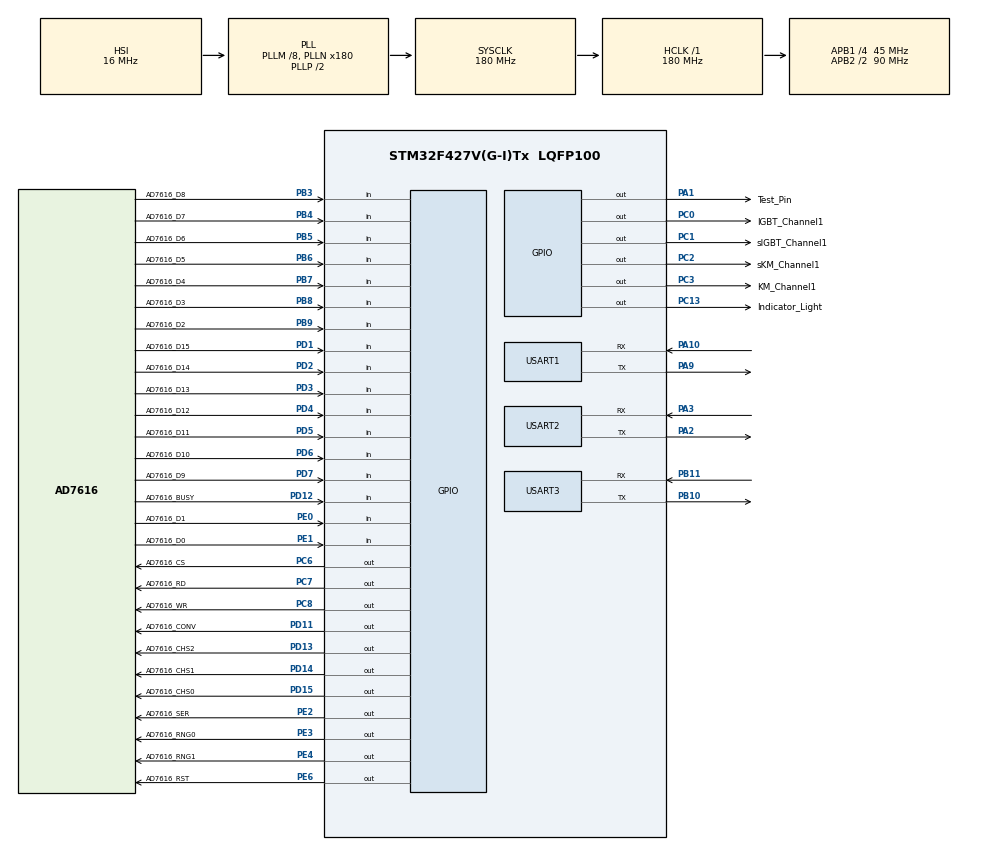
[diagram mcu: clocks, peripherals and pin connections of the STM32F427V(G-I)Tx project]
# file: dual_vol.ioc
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Dma.Request0=USART2_RX
Dma.Request1=USART2_TX
Dma.Request2=USART3_RX
Dma.Request3=USART3_TX
Dma.Request4=USART1_RX
Dma.Request5=USART1_TX
Dma.USART1_RX.4.Direction=DMA_PERIPH_TO_MEMORY
Dma.USART1_RX.4.FIFOMode=DMA_FIFOMODE_DISABLE
Dma.USART1_RX.4.Instance=DMA2_Stream2
Dma.USART1_RX.4.MemDataAlignment=DMA_MDATAALIGN_BYTE
Dma.USART1_RX.4.MemInc=DMA_MINC_ENABLE
Dma.USART1_RX.4.Mode=DMA_NORMAL
Dma.USART1_RX.4.PeriphDataAlignment=DMA_PDATAALIGN_BYTE
Dma.USART1_RX.4.PeriphInc=DMA_PINC_DISABLE
Dma.USART1_RX.4.Priority=DMA_PRIORITY_LOW
Dma.USART1_TX.5.Direction=DMA_MEMORY_TO_PERIPH
Dma.USART1_TX.5.FIFOMode=DMA_FIFOMODE_DISABLE
Dma.USART1_TX.5.Instance=DMA2_Stream7
Dma.USART1_TX.5.MemDataAlignment=DMA_MDATAALIGN_BYTE
Dma.USART1_TX.5.MemInc=DMA_MINC_ENABLE
Dma.USART1_TX.5.Mode=DMA_NORMAL
Dma.USART1_TX.5.PeriphDataAlignment=DMA_PDATAALIGN_BYTE
Dma.USART1_TX.5.PeriphInc=DMA_PINC_DISABLE
Dma.USART1_TX.5.Priority=DMA_PRIORITY_LOW
Dma.USART2_RX.0.Direction=DMA_PERIPH_TO_MEMORY
Dma.USART2_RX.0.FIFOMode=DMA_FIFOMODE_DISABLE
Dma.USART2_RX.0.Instance=DMA1_Stream5
Dma.USART2_RX.0.MemDataAlignment=DMA_MDATAALIGN_BYTE
Dma.USART2_RX.0.MemInc=DMA_MINC_ENABLE
Dma.USART2_RX.0.Mode=DMA_NORMAL
Dma.USART2_RX.0.PeriphDataAlignment=DMA_PDATAALIGN_BYTE
Dma.USART2_RX.0.PeriphInc=DMA_PINC_DISABLE
Dma.USART2_RX.0.Priority=DMA_PRIORITY_LOW
Dma.USART2_TX.1.Direction=DMA_MEMORY_TO_PERIPH
Dma.USART2_TX.1.FIFOMode=DMA_FIFOMODE_DISABLE
Dma.USART2_TX.1.Instance=DMA1_Stream6
Dma.USART2_TX.1.MemDataAlignment=DMA_MDATAALIGN_BYTE
Dma.USART2_TX.1.MemInc=DMA_MINC_ENABLE
Dma.USART2_TX.1.Mode=DMA_NORMAL
Dma.USART2_TX.1.PeriphDataAlignment=DMA_PDATAALIGN_BYTE
Dma.USART2_TX.1.PeriphInc=DMA_PINC_DISABLE
Dma.USART2_TX.1.Priority=DMA_PRIORITY_MEDIUM
Dma.USART3_RX.2.Direction=DMA_PERIPH_TO_MEMORY
Dma.USART3_RX.2.FIFOMode=DMA_FIFOMODE_DISABLE
Dma.USART3_RX.2.Instance=DMA1_Stream1
Dma.USART3_RX.2.MemDataAlignment=DMA_MDATAALIGN_BYTE
Dma.USART3_RX.2.MemInc=DMA_MINC_ENABLE
Dma.USART3_RX.2.Mode=DMA_NORMAL
Dma.USART3_RX.2.PeriphDataAlignment=DMA_PDATAALIGN_BYTE
Dma.USART3_RX.2.PeriphInc=DMA_PINC_DISABLE
Dma.USART3_RX.2.Priority=DMA_PRIORITY_LOW
Dma.USART3_TX.3.Direction=DMA_MEMORY_TO_PERIPH
Dma.USART3_TX.3.FIFOMode=DMA_FIFOMODE_DISABLE
Dma.USART3_TX.3.Instance=DMA1_Stream3
Dma.USART3_TX.3.MemDataAlignment=DMA_MDATAALIGN_BYTE
Dma.USART3_TX.3.MemInc=DMA_MINC_ENABLE
Dma.USART3_TX.3.Mode=DMA_NORMAL
Dma.USART3_TX.3.PeriphDataAlignment=DMA_PDATAALIGN_BYTE
Dma.USART3_TX.3.PeriphInc=DMA_PINC_DISABLE
Dma.USART3_TX.3.Priority=DMA_PRIORITY_MEDIUM
Mcu.Family=STM32F4
Mcu.Name=STM32F427V(G-I)Tx
Mcu.Package=LQFP100
NVIC.DMA1_Stream1_IRQn=true\:0\:0\:false\:false\:true\:false\:true\:true
NVIC.DMA1_Stream3_IRQn=true\:0\:0\:false\:false\:true\:false\:true\:true
NVIC.DMA1_Stream5_IRQn=true\:0\:0\:false\:false\:true\:false\:true\:true
NVIC.DMA1_Stream6_IRQn=true\:0\:0\:false\:false\:true\:false\:true\:true
NVIC.DMA2_Stream2_IRQn=true\:0\:0\:false\:false\:true\:false\:true\:true
NVIC.DMA2_Stream7_IRQn=true\:0\:0\:false\:false\:true\:false\:true\:true
NVIC.PriorityGroup=NVIC_PRIORITYGROUP_4
NVIC.TIM2_IRQn=true\:2\:0\:true\:false\:true\:true\:true\:true
NVIC.TIM3_IRQn=true\:4\:0\:true\:false\:true\:true\:true\:true
NVIC.TIM4_IRQn=true\:3\:0\:true\:false\:true\:true\:true\:true
NVIC.USART1_IRQn=true\:0\:0\:false\:false\:true\:true\:true\:true
NVIC.USART2_IRQn=true\:1\:0\:true\:false\:true\:true\:true\:true
NVIC.USART3_IRQn=true\:1\:0\:true\:false\:true\:true\:true\:true
PA1.GPIO_Label=Test_Pin
PA1.GPIO_Speed=GPIO_SPEED_FREQ_VERY_HIGH
PA1.Signal=GPIO_Output
PA10.Mode=Asynchronous
PA10.Signal=USART1_RX
PA13.Mode=Serial_Wire
PA13.Signal=SYS_JTMS-SWDIO
PA14.Mode=Serial_Wire
PA14.Signal=SYS_JTCK-SWCLK
PA2.Mode=Asynchronous
PA2.Signal=USART2_TX
PA3.Mode=Asynchronous
PA3.Signal=USART2_RX
PA9.Mode=Asynchronous
PA9.Signal=USART1_TX
PB10.Mode=Asynchronous
PB10.Signal=USART3_TX
PB11.Mode=Asynchronous
PB11.Signal=USART3_RX
PB3.GPIO_Label=AD7616_D8
PB3.Signal=GPIO_Input
PB4.GPIO_Label=AD7616_D7
PB4.Signal=GPIO_Input
PB5.GPIO_Label=AD7616_D6
PB5.Signal=GPIO_Input
PB6.GPIO_Label=AD7616_D5
PB6.Signal=GPIO_Input
PB7.GPIO_Label=AD7616_D4
PB7.Signal=GPIO_Input
PB8.GPIO_Label=AD7616_D3
PB8.Signal=GPIO_Input
PB9.GPIO_Label=AD7616_D2
PB9.Signal=GPIO_Input
PC0.GPIO_Label=IGBT_Channel1
PC0.GPIO_Speed=GPIO_SPEED_FREQ_VERY_HIGH
PC0.Signal=GPIO_Output
PC1.GPIO_Label=sIGBT_Channel1
PC1.GPIO_Speed=GPIO_SPEED_FREQ_VERY_HIGH
PC1.PinState=GPIO_PIN_RESET
PC1.Signal=GPIO_Output
PC13.GPIO_Label=Indicator_Light
PC13.PinState=GPIO_PIN_SET
PC13.Signal=GPIO_Output
PC14/OSC32_IN.Mode=LSE-External-Oscillator
PC14/OSC32_IN.Signal=RCC_OSC32_IN
PC15/OSC32_OUT.Mode=LSE-External-Oscillator
PC15/OSC32_OUT.Signal=RCC_OSC32_OUT
PC2.GPIO_Label=sKM_Channel1
PC2.GPIO_Speed=GPIO_SPEED_FREQ_VERY_HIGH
PC2.Signal=GPIO_Output
PC3.GPIO_Label=KM_Channel1
PC3.GPIO_Speed=GPIO_SPEED_FREQ_VERY_HIGH
PC3.Signal=GPIO_Output
PC6.GPIO_Label=AD7616_CS
PC6.GPIO_Speed=GPIO_SPEED_FREQ_VERY_HIGH
PC6.Signal=GPIO_Output
PC7.GPIO_Label=AD7616_RD
PC7.GPIO_Speed=GPIO_SPEED_FREQ_VERY_HIGH
PC7.Signal=GPIO_Output
PC8.GPIO_Label=AD7616_WR
PC8.GPIO_Speed=GPIO_SPEED_FREQ_VERY_HIGH
PC8.Signal=GPIO_Output
PD1.GPIO_Label=AD7616_D15
PD1.Signal=GPIO_Input
PD11.GPIO_Label=AD7616_CONV
PD11.GPIO_Speed=GPIO_SPEED_FREQ_VERY_HIGH
PD11.Signal=GPIO_Output
PD12.GPIO_Label=AD7616_BUSY
PD12.Signal=GPIO_Input
PD13.GPIO_Label=AD7616_CHS2
PD13.GPIO_Speed=GPIO_SPEED_FREQ_VERY_HIGH
PD13.Signal=GPIO_Output
PD14.GPIO_Label=AD7616_CHS1
PD14.GPIO_Speed=GPIO_SPEED_FREQ_VERY_HIGH
PD14.Signal=GPIO_Output
PD15.GPIO_Label=AD7616_CHS0
PD15.GPIO_Speed=GPIO_SPEED_FREQ_VERY_HIGH
PD15.Signal=GPIO_Output
PD2.GPIO_Label=AD7616_D14
PD2.Signal=GPIO_Input
PD3.GPIO_Label=AD7616_D13
PD3.Signal=GPIO_Input
PD4.GPIO_Label=AD7616_D12
PD4.Signal=GPIO_Input
PD5.GPIO_Label=AD7616_D11
PD5.Signal=GPIO_Input
PD6.GPIO_Label=AD7616_D10
PD6.Signal=GPIO_Input
PD7.GPIO_Label=AD7616_D9
PD7.Signal=GPIO_Input
PE0.GPIO_Label=AD7616_D1
PE0.Signal=GPIO_Input
PE1.GPIO_Label=AD7616_D0
PE1.Signal=GPIO_Input
PE2.GPIO_Label=AD7616_SER
PE2.GPIO_Speed=GPIO_SPEED_FREQ_VERY_HIGH
PE2.Signal=GPIO_Output
PE3.GPIO_Label=AD7616_RNG0
PE3.GPIO_Speed=GPIO_SPEED_FREQ_VERY_HIGH
PE3.PinState=GPIO_PIN_SET
PE3.Signal=GPIO_Output
PE4.GPIO_Label=AD7616_RNG1
PE4.GPIO_Speed=GPIO_SPEED_FREQ_VERY_HIGH
PE4.Signal=GPIO_Output
PE6.GPIO_Label=AD7616_RST
PE6.GPIO_Speed=GPIO_SPEED_FREQ_VERY_HIGH
PE6.Signal=GPIO_Output
PH0/OSC_IN.Mode=HSE-External-Oscillator
PH0/OSC_IN.Signal=RCC_OSC_IN
PH1/OSC_OUT.Mode=HSE-External-Oscillator
PH1/OSC_OUT.Signal=RCC_OSC_OUT
ProjectManager.HeapSize=0x200
ProjectManager.StackSize=0x800
ProjectManager.TargetToolchain=MDK-ARM V5
RCC.48MHZClocksFreq_Value=90000000
RCC.AHBFreq_Value=180000000
RCC.APB1CLKDivider=RCC_HCLK_DIV4
RCC.APB1Freq_Value=45000000
RCC.APB1TimFreq_Value=90000000
RCC.APB2CLKDivider=RCC_HCLK_DIV2
RCC.APB2Freq_Value=90000000
RCC.APB2TimFreq_Value=180000000
RCC.CortexFreq_Value=180000000
RCC.HCLKFreq_Value=180000000
RCC.HSE_VALUE=25000000
RCC.HSI_VALUE=16000000
RCC.PLLM=8
RCC.PLLN=180
RCC.SYSCLKFreq_VALUE=180000000
RCC.SYSCLKSource=RCC_SYSCLKSOURCE_PLLCLK
RCC.VCOOutputFreq_Value=360000000
TIM2.AutoReloadPreload=TIM_AUTORELOAD_PRELOAD_ENABLE
TIM2.Period=780
TIM2.Prescaler=17
TIM3.AutoReloadPreload=TIM_AUTORELOAD_PRELOAD_ENABLE
TIM3.Period=19999
TIM3.Prescaler=899
TIM4.AutoReloadPreload=TIM_AUTORELOAD_PRELOAD_ENABLE
TIM4.Period=999
TIM4.Prescaler=89
USART1.VirtualMode=VM_ASYNC
USART2.VirtualMode=VM_ASYNC
USART3.VirtualMode=VM_ASYNC
VP_TIM2_VS_ClockSourceINT.Mode=Internal
VP_TIM3_VS_ClockSourceINT.Mode=Internal
VP_TIM4_VS_ClockSourceINT.Mode=Internal
board=custom

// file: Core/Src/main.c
/* USER CODE BEGIN Header */
/**
  ******************************************************************************
  * @file           : main.c
  * @brief          : Main program body
  ******************************************************************************
  * @attention
  *
  * Copyright (c) 2024 STMicroelectronics.
  * All rights reserved.
  *
  * This software is licensed under terms that can be found in the LICENSE file
  * in the root directory of this software component.
  * If no LICENSE file comes with this software, it is provided AS-IS.
  *
  ******************************************************************************
  */
/* USER CODE END Header */
#include "main.h"
#include "dma.h"
#include "tim.h"
#include "usart.h"
#include "gpio.h"

/* USER CODE BEGIN Includes */
#include "../USER/user.h"
/* USER CODE END Includes */

/* USER CODE BEGIN PD */
void delay_init(uint16_t SYSCLK);
/* USER CODE END PD */

/* USER CODE BEGIN PV */

extern float32_t FFT_Voltage_Value(RingBuffer *FVoltage_Value);
/* USER CODE END PV */

void SystemClock_Config(void);

int main(void)
{

  /* MCU Configuration--------------------------------------------------------*/

  /* Reset of all peripherals, Initializes the Flash interface and the Systick. */
  HAL_Init();

  /* Configure the system clock */
  SystemClock_Config();

  /* Initialize all configured peripherals */
  MX_GPIO_Init();
  MX_DMA_Init();
  MX_TIM2_Init();
  MX_USART2_UART_Init();
  MX_USART3_UART_Init();
  MX_TIM3_Init();
  MX_TIM4_Init();
  MX_USART1_UART_Init();
  /* USER CODE BEGIN 2 */
  Global_Init();
  user_setup();
  AD7616_Set_Range(Range_10_V);
  AD7616_Channel_Group_Select(Channel_Group_0);
  AD7616_Reset();
  for (int i = 0; i < 16; i++)
    rb_init(&Rb_CalcData[i]);
//  Start_UART_DMA_Receive();
  HAL_TIM_Base_Start_IT(&htim2);
  HAL_TIM_Base_Start_IT(&htim3);
  HAL_TIM_Base_Start_IT(&htim4);
  Control_Init();
  HAL_Delay(1000);
  HAL_GPIO_WritePin(Test_Pin_GPIO_Port,Test_Pin_Pin,GPIO_PIN_SET);

  /* USER CODE END 2 */

  /* Infinite loop */
  while (1)
  {

    /* USER CODE BEGIN 3 */

		LSC_Airthmeitc();
    user_loop();

  //  if (StartFlag == 1 && LSC_flag == 1)
  //  {
	// 	 HAL_GPIO_WritePin(Test_Pin_GPIO_Port,Test_Pin_Pin,GPIO_PIN_RESET);
  //    HAL_Delay(6);
  //    LSC_Airthmeitc();

  //  }
  //  System_Maltfunction();
  //  Vlotage_Resume();

  }
  /* USER CODE END 3 */
}

void SystemClock_Config(void)
{
  RCC_OscInitTypeDef RCC_OscInitStruct = {0};
  RCC_ClkInitTypeDef RCC_ClkInitStruct = {0};

  /** Configure the main internal regulator output voltage
  */
  __HAL_RCC_PWR_CLK_ENABLE();
  __HAL_PWR_VOLTAGESCALING_CONFIG(PWR_REGULATOR_VOLTAGE_SCALE1);

  /** Initializes the RCC Oscillators according to the specified parameters
  * in the RCC_OscInitTypeDef structure.
  */
  RCC_OscInitStruct.OscillatorType = RCC_OSCILLATORTYPE_HSI;
  RCC_OscInitStruct.HSIState = RCC_HSI_ON;
  RCC_OscInitStruct.HSICalibrationValue = RCC_HSICALIBRATION_DEFAULT;
  RCC_OscInitStruct.PLL.PLLState = RCC_PLL_ON;
  RCC_OscInitStruct.PLL.PLLSource = RCC_PLLSOURCE_HSI;
  RCC_OscInitStruct.PLL.PLLM = 8;
  RCC_OscInitStruct.PLL.PLLN = 180;
  RCC_OscInitStruct.PLL.PLLP = RCC_PLLP_DIV2;
  RCC_OscInitStruct.PLL.PLLQ = 4;
  if (HAL_RCC_OscConfig(&RCC_OscInitStruct) != HAL_OK)
  {
    Error_Handler();
  }

  /** Activate the Over-Drive mode
  */
  if (HAL_PWREx_EnableOverDrive() != HAL_OK)
  {
    Error_Handler();
  }

  /** Initializes the CPU, AHB and APB buses clocks
  */
  RCC_ClkInitStruct.ClockType = RCC_CLOCKTYPE_HCLK|RCC_CLOCKTYPE_SYSCLK
                              |RCC_CLOCKTYPE_PCLK1|RCC_CLOCKTYPE_PCLK2;
  RCC_ClkInitStruct.SYSCLKSource = RCC_SYSCLKSOURCE_PLLCLK;
  RCC_ClkInitStruct.AHBCLKDivider = RCC_SYSCLK_DIV1;
  RCC_ClkInitStruct.APB1CLKDivider = RCC_HCLK_DIV4;
  RCC_ClkInitStruct.APB2CLKDivider = RCC_HCLK_DIV2;

  if (HAL_RCC_ClockConfig(&RCC_ClkInitStruct, FLASH_LATENCY_5) != HAL_OK)
  {
    Error_Handler();
  }
}

/* USER CODE BEGIN 4 */
static uint32_t fac_us=0;							//us延时倍乘数
void delay_init(uint16_t SYSCLK)
{

    HAL_SYSTICK_CLKSourceConfig(SYSTICK_CLKSOURCE_HCLK);//SysTick频率为HCLK
	  fac_us=SYSCLK;						    //不论是否使用OS,fac_us都需要使用

}
void delay_us(uint32_t nus)
{
	uint32_t ticks;
	uint32_t told,tnow,tcnt=0;
	uint32_t reload=SysTick->LOAD;				//LOAD的值
	ticks=nus*fac_us; 						//需要的节拍数
	told=SysTick->VAL;        				//刚进入时的计数器值
	while(1)
	{
		tnow=SysTick->VAL;
		if(tnow!=told)
		{
			if(tnow<told)tcnt+=told-tnow;	//这里注意一下SYSTICK是一个递减的计数器就可以了.
			else tcnt+=reload-tnow+told;
			told=tnow;
			if(tcnt>=ticks)break;			//时间超过/等于要延迟的时间,则退出.
		}
	};
}
/* USER CODE END 4 */

void Error_Handler(void)
{
  __disable_irq();
  while (1)
  {
  }
}
